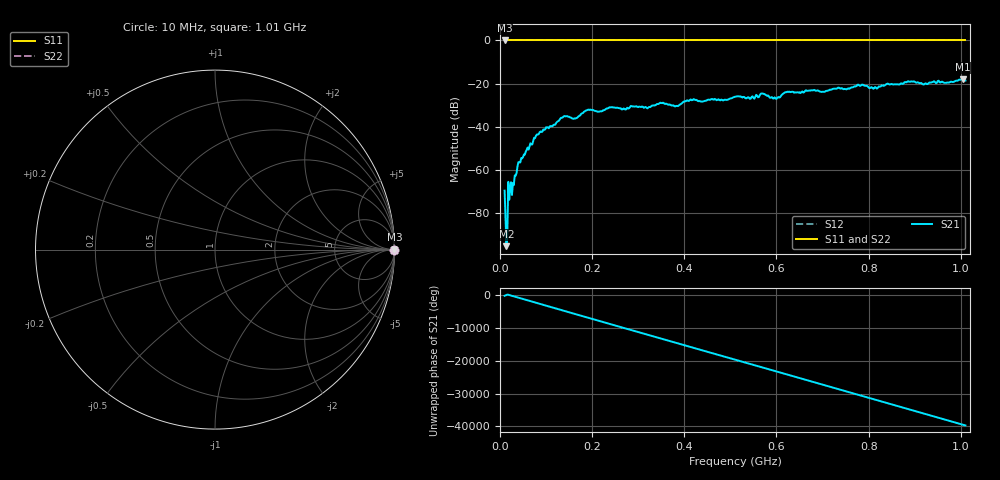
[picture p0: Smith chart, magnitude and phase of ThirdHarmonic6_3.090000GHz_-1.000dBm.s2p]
! 8/17/2025 9:05:14 AM
! C:\ANRITSUVNA\TEMP\TEMP.S2P
! CHANNEL.1
! TR.MEASUREMENT
! RAW.DATA
! RF.CORRECTION.OFF
! AVERAGING.OFF
! IF.BANDWIDTH: 5KHZ
! SWEEPTYPE:  FREQ.SWEEP(Linear)
! Reference Plane Port Info
! PORT:  PORT1  PORT2
! DISTANCE:  0  m  0  m
! TIME:  0  s  0  s
! PHASE.OFFSET:  0  deg.  0  deg.
! LOSS:  0  dB  0  dB
! REF.LOSS:  0  dB  0  dB
! REF.FREQ:  0  Hz  0  Hz
! Power Info
! POWER:  -20  dBm  -20  dBm
! EFF.POWER:  -20  dBm  -20  dBm
! SOURCE.ATTEN:  0  dB  0  dB
! TEST.ATTEN:  0  dB  0  dB
# GHZ S RI R 50.0
! FREQ.GHZ  S11RE  S11IM  S21RE  S21IM  S12RE  S12IM  S22RE  S22IM
!; PortSelection: Port_12
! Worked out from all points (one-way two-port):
!   501 points, 10 MHz to 1.01 GHz, reference 50 ohm
!   highest |S21| = -18.04 dB at 1.004 GHz (marker M1); lowest = -95.3 dB at 14 MHz (marker M2)
!   lowest |S11| = 0.0 dB at 10 MHz (marker M3)
!   |S11| at or under -10 dB: nowhere
!   |S22| runs from 0.0 to 0.0 dB; largest |S21 - S12| = 1.1
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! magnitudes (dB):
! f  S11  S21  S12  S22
! 10 MHz  0.0  -69.6  0.0  0.0
! 12 MHz  0.0  -82.7  0.0  0.0
! 14 MHz  0.0  -95.3  0.0  0.0
! 16 MHz  0.0  -88.5  0.0  0.0
! 22 MHz  0.0  -68.4  0.0  0.0
! 30 MHz  0.0  -67.0  0.0  0.0
! 42 MHz  0.0  -56.4  0.0  0.0
! 78 MHz  0.0  -44.2  0.0  0.0
! 136 MHz  0.0  -35.7  0.0  0.0
! 162 MHz  0.0  -36.1  0.0  0.0
! 178 MHz  0.0  -33.8  0.0  0.0
! 344 MHz  0.0  -29.4  0.0  0.0
! 382 MHz  0.0  -30.4  0.0  0.0
! 416 MHz  0.0  -27.7  0.0  0.0
! 510 MHz  0.0  -26.1  0.0  0.0
! 570 MHz  0.0  -24.6  0.0  0.0
! 596 MHz  0.0  -26.4  0.0  0.0
! 622 MHz  0.0  -24.0  0.0  0.0
! 678 MHz  0.0  -23.1  0.0  0.0
! 844 MHz  0.0  -20.3  0.0  0.0
! 1.004 GHz  0.0  -18.0  0.0  0.0
! 1.01 GHz  0.0  -18.6  0.0  0.0
